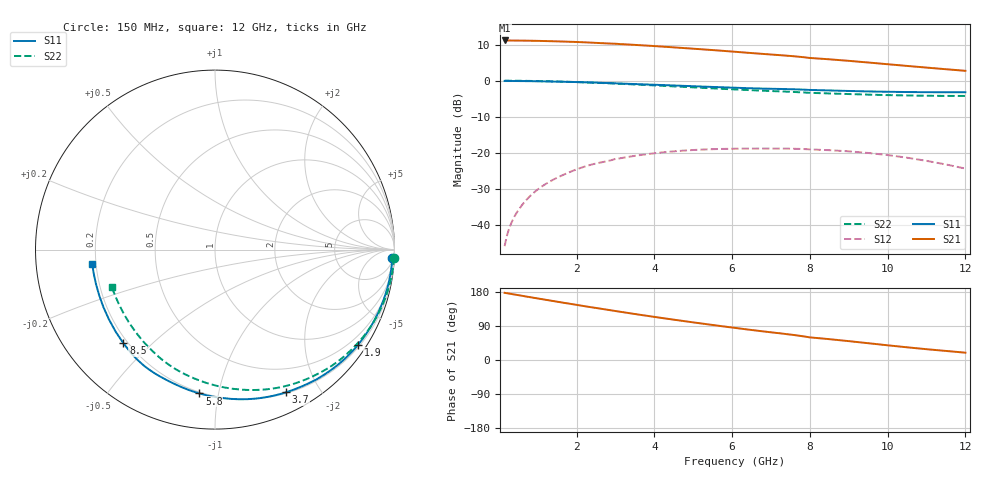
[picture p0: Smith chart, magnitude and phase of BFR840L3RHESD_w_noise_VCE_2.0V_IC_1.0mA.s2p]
! Infineon Technologies  Discrete & RF Semiconductors
! BFR840L3RHESD
! VCE =  2.0 V,  IC =  1.0 mA
! Common Emitter S-Parameters:  Jun 2012
# GHz  S  MA  R  50
!  f  S11  S21  S12  S22
! GHz  MAG  ANG  MAG  ANG  MAG  ANG  MAG  ANG
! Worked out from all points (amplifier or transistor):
!   91 points, 150 MHz to 12 GHz, reference 50 ohm
!   highest |S21| = 11.2 dB at 150 MHz (marker M1)
!   |S21| within 3 dB of that: start of sweep to 5.903 GHz
!   unconditionally stable (mu >= 1): 10.35 GHz to end of sweep
!   at 1.3 GHz: K = 0.05, MSG = 19.6 dB, |S12| = -28.1 dB
!   at 4.3 GHz: K = 0.18, MSG = 14.6 dB, |S12| = -19.9 dB
!   at 12 GHz: K = 1.84, MAG = 8.3 dB, |S12| = -24.5 dB
!   lowest NFmin = 0.33 dB at 450 MHz
!   S11 on the Smith chart (normalised r, x): 150 MHz: 8, -39; 1.9 GHz: 0.26, -3.29; 3.7 GHz: 0.21, -1.59; 5.8 GHz: 0.19, -0.88; 8.5 GHz: 0.18, -0.41; 12 GHz: 0.18, -0.06
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0.15  0.9898 -2.8  3.615 177.3  0.005 84.2  0.9982 -2.6
0.25  0.9887 -4.6  3.609 175.6  0.0083 87.0  0.9972 -4.3
0.35  0.9877 -6.4  3.605 173.8  0.0113 85.6  0.9964 -5.9
0.5  0.9862 -9.1  3.6 171.2  0.0157 82.2  0.9949 -8.3
0.7  0.9837 -12.6  3.591 167.6  0.0217 78.3  0.992 -11.5
1  0.9787 -17.8  3.567 162.4  0.0307 74.0  0.9858 -16.3
1.3  0.9725 -23.0  3.535 157.3  0.0392 70.0  0.978 -21.1
1.9  0.9574 -33.6  3.457 147.2  0.0556 60.9  0.9578 -30.6
2.2  0.9477 -38.8  3.407 142.1  0.0636 56.5  0.9454 -35.3
3  0.9176 -52.2  3.255 129.2  0.0815 45.6  0.9092 -47.4
3.7  0.8877 -63.6  3.09 118.3  0.0933 36.2  0.8731 -57.8
4.2  0.8682 -71.6  2.971 110.8  0.1004 29.9  0.8475 -65.0
5  0.8359 -84.1  2.777 99.3  0.1085 19.7  0.8054 -76.2
5.8  0.8061 -96.2  2.584 88.4  0.1125 10.1  0.7662 -87.1
6.1  0.7955 -100.6  2.511 84.4  0.1132 6.7  0.7526 -91.1
6.7  0.777 -109.2  2.37 76.7  0.1137 0.4  0.7276 -99.0
7.4  0.7623 -118.9  2.222 68.3  0.1133 -6.4  0.7024 -107.8
8  0.742 -129.1  2.065 59.7  0.1107 -14.5  0.6764 -117.1
8.5  0.7299 -134.4  1.978 55.0  0.1079 -19.2  0.6632 -122.0
9.5  0.7075 -146.6  1.785 44.3  0.0987 -30.1  0.6385 -133.5
10.5  0.6939 -158.3  1.6 33.5  0.0848 -41.2  0.6212 -145.1
12  0.6892 -173.3  1.368 19.3  0.0599 -54.6  0.6121 -160.2
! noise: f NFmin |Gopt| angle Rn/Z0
0.45  0.33  0.88  10  0.41
0.9  0.36  0.86  14  0.39
1.9  0.41  0.8  27  0.37
3.5  0.46  0.76  44  0.34
4  0.5  0.74  55  0.33
5.5  0.61  0.75  73  0.29
7  0.78  0.71  93  0.24
8  0.93  0.69  105  0.21
10  1.21  0.61  124  0.16
12  1.56  0.55  153  0.08
